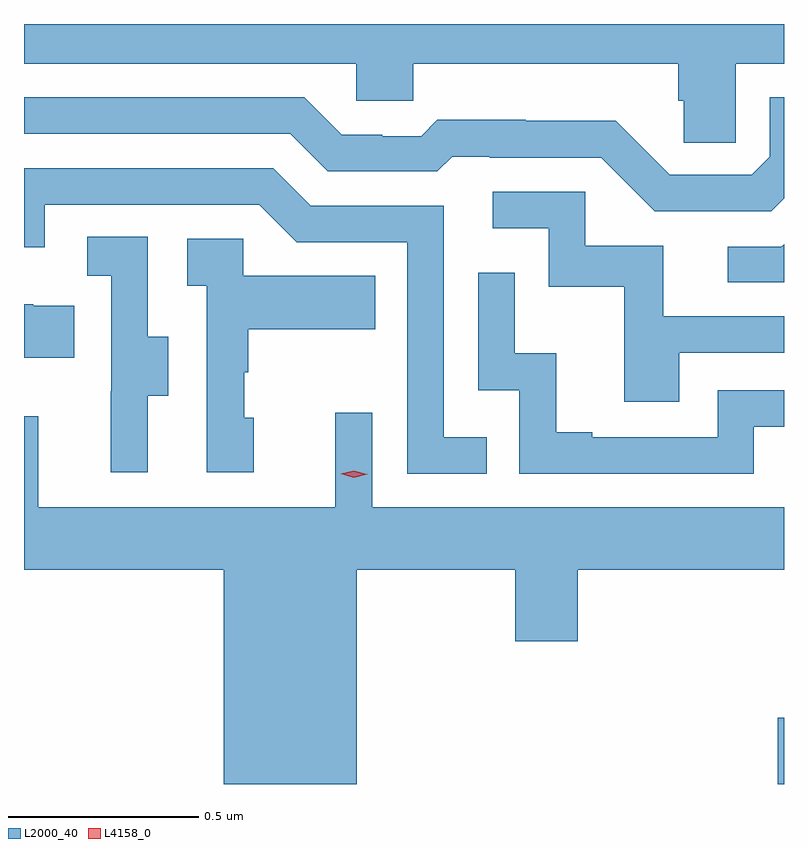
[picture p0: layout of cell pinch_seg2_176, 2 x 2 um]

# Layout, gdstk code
import gdstk
lib = gdstk.Library(unit=1e-6, precision=1e-09)
def R(c, l, rs):  # rectangles x0, y0, x1, y1
    for r in rs: c.add(gdstk.rectangle(r[:2], r[2:], *l))
def P(c, l, *ps):  # polygons
    for p in ps: c.add(gdstk.Polygon(p, *l))
L2000_40 = (2000, 40)
L4158_0 = (4158, 0)

pinch_seg2_176 = lib.new_cell('pinch_seg2_176')
R(pinch_seg2_176, L2000_40, [(1100.762,627.092,1100.779,627.267)])
P(pinch_seg2_176, L2000_40, [(1098.779,628.988),(1099.653,628.988),(1099.653,628.89),(1099.803,628.89),(1099.803,628.988),(1100.501,628.988),(1100.501,628.89),(1100.515,628.89),(1100.515,628.78),(1100.652,628.78),(1100.652,628.988),(1100.779,628.988),(1100.779,629.092),(1098.779,629.092)],
  [(1100.779,628.633),(1100.779,628.899),(1100.742,628.899),(1100.742,628.743),(1100.694,628.695),(1100.478,628.695),(1100.336,628.837),(1100.1,628.837),(1100.1,628.84),(1099.867,628.84),(1099.825,628.797),(1099.722,628.797),(1099.722,628.8),(1099.615,628.8),(1099.516,628.899),(1098.779,628.899),(1098.779,628.803),(1099.479,628.803),(1099.578,628.704),(1099.867,628.704),(1099.906,628.743),(1100.005,628.743),(1100.005,628.74),(1100.298,628.74),(1100.439,628.599),(1100.745,628.599)],
  [(1099.997,628.005),(1099.884,628.005),(1099.884,628.614),(1099.534,628.614),(1099.435,628.713),(1098.779,628.713),(1098.779,628.505),(1098.834,628.505),(1098.834,628.617),(1099.398,628.617),(1099.497,628.518),(1099.788,628.518),(1099.788,627.909),(1099.997,627.909)],
  [(1100.503,628.227),(1100.779,628.227),(1100.779,628.323),(1100.461,628.323),(1100.461,628.509),(1100.256,628.509),(1100.256,628.65),(1100.013,628.65),(1100.013,628.554),(1100.16,628.554),(1100.16,628.401),(1100.359,628.401),(1100.359,628.098),(1100.503,628.098)],
  [(1099.105,628.114),(1099.159,628.114),(1099.159,628.269),(1099.104,628.269),(1099.104,628.532),(1098.945,628.532),(1098.945,628.429),(1099.008,628.429),(1099.008,628.125),(1099.007,628.125),(1099.007,627.912),(1099.105,627.912)],
  [(1099.384,628.056),(1099.359,628.056),(1099.359,628.175),(1099.369,628.175),(1099.369,628.289),(1099.703,628.289),(1099.703,628.429),(1099.356,628.429),(1099.356,628.527),(1099.209,628.527),(1099.209,628.403),(1099.26,628.403),(1099.26,627.912),(1099.384,627.912)],
  [(1100.779,628.513),(1100.772,628.506),(1100.631,628.506),(1100.631,628.413),(1100.779,628.413)],
  [(1100.7,628.032),(1100.779,628.032),(1100.779,628.128),(1100.604,628.128),(1100.604,628.005),(1100.275,628.005),(1100.275,628.018),(1100.18,628.018),(1100.18,628.226),(1100.07,628.226),(1100.07,628.438),(1099.974,628.438),(1099.974,628.128),(1100.082,628.128),(1100.082,627.909),(1100.7,627.909)],
  [(1098.911,628.351),(1098.803,628.351),(1098.803,628.354),(1098.779,628.354),(1098.779,628.214),(1098.911,628.214)],
  [(1099.654,627.656),(1100.072,627.656),(1100.072,627.468),(1100.236,627.468),(1100.236,627.656),(1100.779,627.656),(1100.779,627.82),(1099.695,627.82),(1099.695,628.069),(1099.598,628.069),(1099.598,627.82),(1098.817,627.82),(1098.817,628.06),(1098.779,628.06),(1098.779,627.656),(1099.304,627.656),(1099.304,627.092),(1099.654,627.092)])
P(pinch_seg2_176, L4158_0, [(1099.647,627.898),(1099.612,627.908),(1099.612,627.908),(1099.612,627.908),(1099.647,627.917),(1099.682,627.907),(1099.683,627.907),(1099.682,627.907)])

lib.write_gds('pinch_seg2_176.gds')
